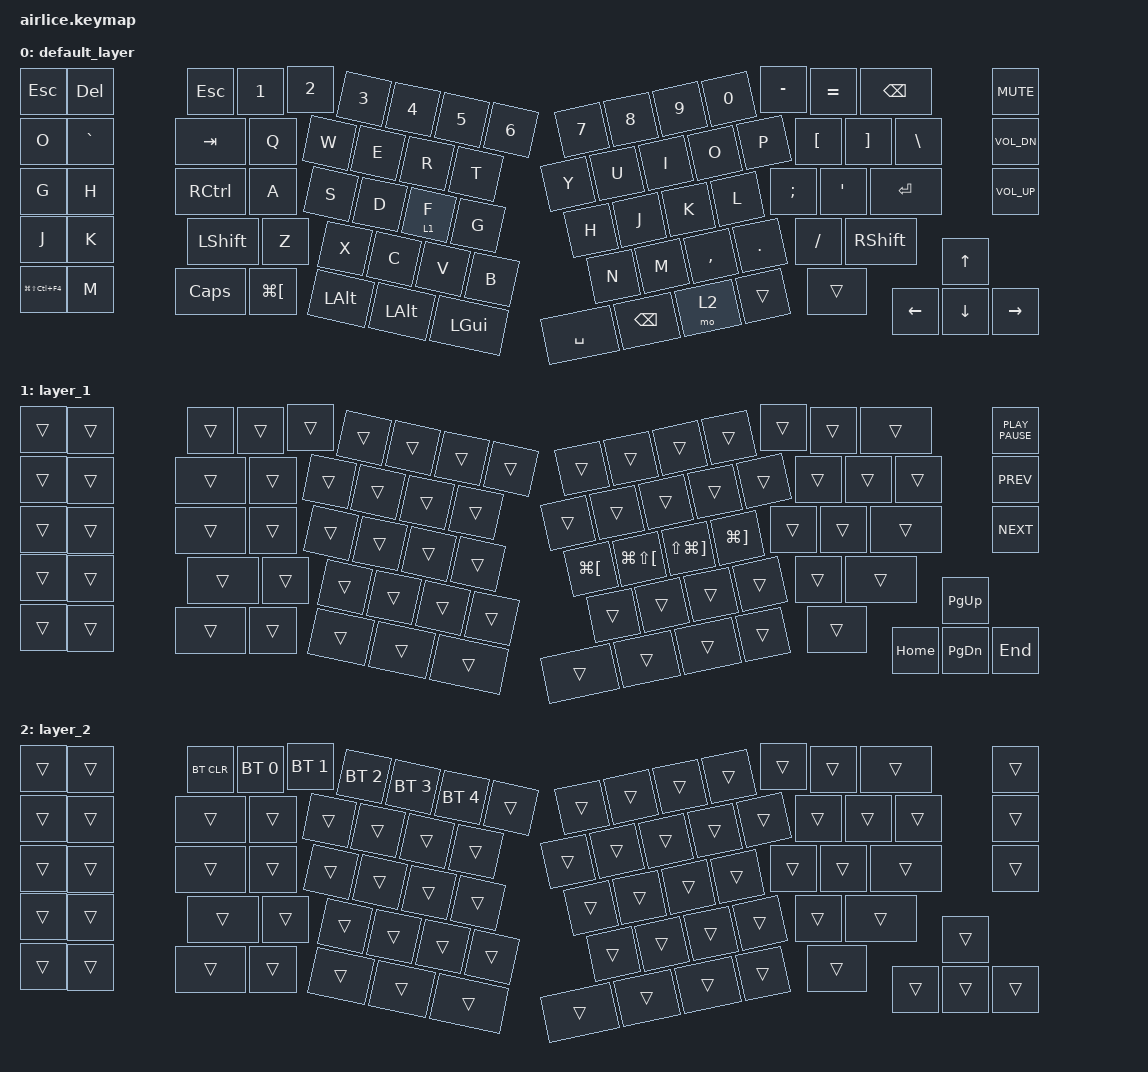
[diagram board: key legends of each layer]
/*
 * Copyright (c) 2020 The ZMK Contributors
 *
 * SPDX-License-Identifier: MIT
 */

#include <behaviors.dtsi>
#include <dt-bindings/zmk/bt.h>
#include <dt-bindings/zmk/keys.h>

/ {
    combos {
        compatible = "zmk,combos";

        bootloader {
            bindings = <&bootloader>;
            key-positions = <0 1>;
        };

        bootloader_right {
            bindings = <&bootloader>;
            key-positions = <16 33>;
        };
    };

    keymap {
        compatible = "zmk,keymap";

        default_layer {
            bindings = <
&kp ESCAPE          &kp DELETE  &kp ESC       &kp N1                &kp N2        &kp N3        &kp N4        &kp N5  &kp N6  &kp N7     &kp N8         &kp N9     &kp N0   &kp MINUS  &kp EQUAL  &kp BSPC            &kp K_MUTE
&kp O               &kp GRAVE   &kp TAB       &kp Q                 &kp W         &kp E         &kp R         &kp T           &kp Y      &kp U          &kp I      &kp O    &kp P      &kp LBKT   &kp RBKT  &kp BSLH  &kp C_VOL_DN
&kp G               &kp H       &kp RCTRL     &kp A                 &kp S         &kp D         &lt 1 F       &kp G           &kp H      &kp J          &kp K      &kp L    &kp SEMI   &kp SQT    &kp RET             &kp C_VOLUME_UP
&kp J               &kp K       &kp LSHFT     &kp Z                 &kp X         &kp C         &kp V         &kp B           &kp N      &kp M          &kp COMMA  &kp DOT  &kp FSLH   &kp RSHFT  &kp UP
&kp LG(LS(LC(F4)))  &kp M       &kp CAPSLOCK  &kp LG(LEFT_BRACKET)  &kp LEFT_ALT  &kp LEFT_ALT  &kp LEFT_GUI                  &kp SPACE  &kp BACKSPACE  &mo 2      &trans   &trans     &kp LEFT   &kp DOWN            &kp RIGHT
            >;
        };

        layer_1 {
            bindings = <
&trans  &trans  &trans  &trans  &trans  &trans  &trans  &trans  &trans  &trans                &trans                    &trans                     &trans                 &trans  &trans    &trans                 &kp K_PLAY_PAUSE
&trans  &trans  &trans  &trans  &trans  &trans  &trans  &trans          &trans                &trans                    &trans                     &trans                 &trans  &trans    &trans         &trans  &kp K_PREV
&trans  &trans  &trans  &trans  &trans  &trans  &trans  &trans          &kp LG(LEFT_BRACKET)  &kp LG(LS(LEFT_BRACKET))  &kp LS(LG(RIGHT_BRACKET))  &kp LG(RIGHT_BRACKET)  &trans  &trans    &trans                 &kp K_NEXT
&trans  &trans  &trans  &trans  &trans  &trans  &trans  &trans          &trans                &trans                    &trans                     &trans                 &trans  &trans    &kp PAGE_UP
&trans  &trans  &trans  &trans  &trans  &trans  &trans                  &trans                &trans                    &trans                     &trans                 &trans  &kp HOME  &kp PAGE_DOWN          &kp END
            >;
        };

        layer_2 {
            bindings = <
&trans  &trans  &bt BT_CLR  &bt BT_SEL 0  &bt BT_SEL 1  &bt BT_SEL 2  &bt BT_SEL 3  &bt BT_SEL 4  &trans  &trans  &trans  &trans  &trans  &trans  &trans  &trans          &trans
&trans  &trans  &trans      &trans        &trans        &trans        &trans        &trans                &trans  &trans  &trans  &trans  &trans  &trans  &trans  &trans  &trans
&trans  &trans  &trans      &trans        &trans        &trans        &trans        &trans                &trans  &trans  &trans  &trans  &trans  &trans  &trans          &trans
&trans  &trans  &trans      &trans        &trans        &trans        &trans        &trans                &trans  &trans  &trans  &trans  &trans  &trans  &trans
&trans  &trans  &trans      &trans        &trans        &trans        &trans                              &trans  &trans  &trans  &trans  &trans  &trans  &trans          &trans
            >;
        };
    };
};
